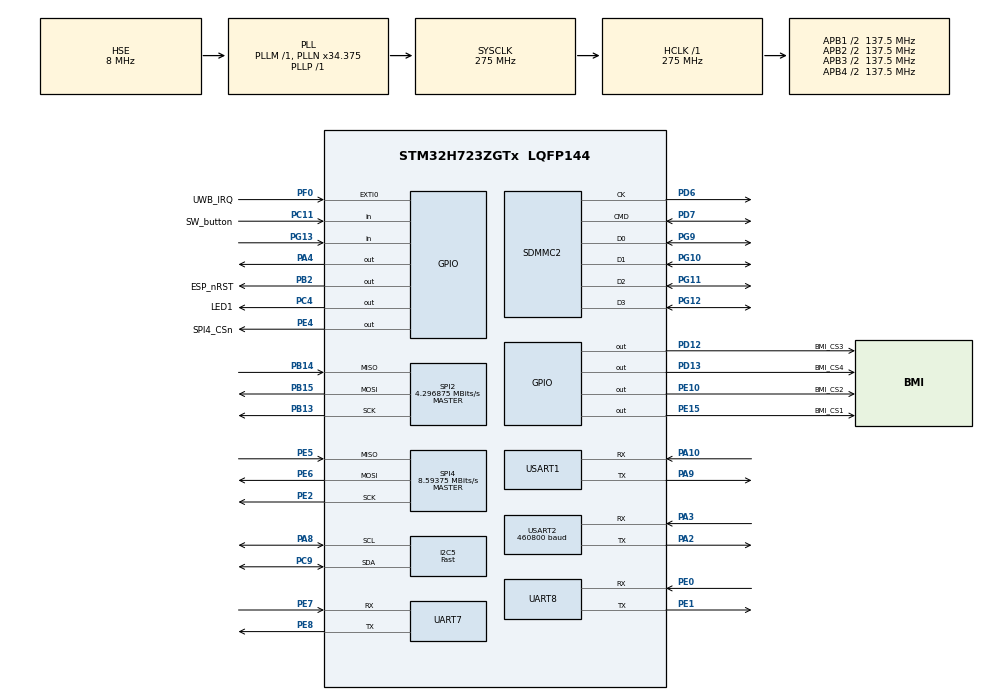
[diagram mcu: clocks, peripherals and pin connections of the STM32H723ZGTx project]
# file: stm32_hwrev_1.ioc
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ARM.CMSIS-DSP.1.17.0.CMSISJjDSP=Source
CORTEX_M7.default_mode_Activation=1
Dma.Request0=USART2_RX
Dma.Request1=USART1_RX
Dma.Request2=USART1_TX
Dma.Request3=USART2_TX
Dma.Request4=SPI2_RX
Dma.Request5=SPI2_TX
Dma.Request6=SPI4_RX
Dma.Request7=SPI4_TX
Dma.SPI2_RX.4.Direction=DMA_PERIPH_TO_MEMORY
Dma.SPI2_RX.4.EventEnable=DISABLE
Dma.SPI2_RX.4.FIFOMode=DMA_FIFOMODE_DISABLE
Dma.SPI2_RX.4.Instance=DMA1_Stream4
Dma.SPI2_RX.4.MemDataAlignment=DMA_MDATAALIGN_BYTE
Dma.SPI2_RX.4.MemInc=DMA_MINC_ENABLE
Dma.SPI2_RX.4.Mode=DMA_NORMAL
Dma.SPI2_RX.4.PeriphDataAlignment=DMA_PDATAALIGN_BYTE
Dma.SPI2_RX.4.PeriphInc=DMA_PINC_DISABLE
Dma.SPI2_RX.4.Polarity=HAL_DMAMUX_REQ_GEN_RISING
Dma.SPI2_RX.4.Priority=DMA_PRIORITY_LOW
Dma.SPI2_RX.4.RequestNumber=1
Dma.SPI2_RX.4.SignalID=NONE
Dma.SPI2_RX.4.SyncEnable=DISABLE
Dma.SPI2_RX.4.SyncPolarity=HAL_DMAMUX_SYNC_NO_EVENT
Dma.SPI2_RX.4.SyncRequestNumber=1
Dma.SPI2_RX.4.SyncSignalID=NONE
Dma.SPI2_TX.5.Direction=DMA_MEMORY_TO_PERIPH
Dma.SPI2_TX.5.EventEnable=DISABLE
Dma.SPI2_TX.5.FIFOMode=DMA_FIFOMODE_DISABLE
Dma.SPI2_TX.5.Instance=DMA1_Stream5
Dma.SPI2_TX.5.MemDataAlignment=DMA_MDATAALIGN_BYTE
Dma.SPI2_TX.5.MemInc=DMA_MINC_ENABLE
Dma.SPI2_TX.5.Mode=DMA_NORMAL
Dma.SPI2_TX.5.PeriphDataAlignment=DMA_PDATAALIGN_BYTE
Dma.SPI2_TX.5.PeriphInc=DMA_PINC_DISABLE
Dma.SPI2_TX.5.Polarity=HAL_DMAMUX_REQ_GEN_RISING
Dma.SPI2_TX.5.Priority=DMA_PRIORITY_LOW
Dma.SPI2_TX.5.RequestNumber=1
Dma.SPI2_TX.5.SignalID=NONE
Dma.SPI2_TX.5.SyncEnable=DISABLE
Dma.SPI2_TX.5.SyncPolarity=HAL_DMAMUX_SYNC_NO_EVENT
Dma.SPI2_TX.5.SyncRequestNumber=1
Dma.SPI2_TX.5.SyncSignalID=NONE
Dma.SPI4_RX.6.Direction=DMA_PERIPH_TO_MEMORY
Dma.SPI4_RX.6.EventEnable=DISABLE
Dma.SPI4_RX.6.FIFOMode=DMA_FIFOMODE_DISABLE
Dma.SPI4_RX.6.Instance=DMA1_Stream6
Dma.SPI4_RX.6.MemDataAlignment=DMA_MDATAALIGN_BYTE
Dma.SPI4_RX.6.MemInc=DMA_MINC_ENABLE
Dma.SPI4_RX.6.Mode=DMA_NORMAL
Dma.SPI4_RX.6.PeriphDataAlignment=DMA_PDATAALIGN_BYTE
Dma.SPI4_RX.6.PeriphInc=DMA_PINC_DISABLE
Dma.SPI4_RX.6.Polarity=HAL_DMAMUX_REQ_GEN_RISING
Dma.SPI4_RX.6.Priority=DMA_PRIORITY_LOW
Dma.SPI4_RX.6.RequestNumber=1
Dma.SPI4_RX.6.SignalID=NONE
Dma.SPI4_RX.6.SyncEnable=DISABLE
Dma.SPI4_RX.6.SyncPolarity=HAL_DMAMUX_SYNC_NO_EVENT
Dma.SPI4_RX.6.SyncRequestNumber=1
Dma.SPI4_RX.6.SyncSignalID=NONE
Dma.SPI4_TX.7.Direction=DMA_MEMORY_TO_PERIPH
Dma.SPI4_TX.7.EventEnable=DISABLE
Dma.SPI4_TX.7.FIFOMode=DMA_FIFOMODE_DISABLE
Dma.SPI4_TX.7.Instance=DMA1_Stream7
Dma.SPI4_TX.7.MemDataAlignment=DMA_MDATAALIGN_BYTE
Dma.SPI4_TX.7.MemInc=DMA_MINC_ENABLE
Dma.SPI4_TX.7.Mode=DMA_NORMAL
Dma.SPI4_TX.7.PeriphDataAlignment=DMA_PDATAALIGN_BYTE
Dma.SPI4_TX.7.PeriphInc=DMA_PINC_DISABLE
Dma.SPI4_TX.7.Polarity=HAL_DMAMUX_REQ_GEN_RISING
Dma.SPI4_TX.7.Priority=DMA_PRIORITY_LOW
Dma.SPI4_TX.7.RequestNumber=1
Dma.SPI4_TX.7.SignalID=NONE
Dma.SPI4_TX.7.SyncEnable=DISABLE
Dma.SPI4_TX.7.SyncPolarity=HAL_DMAMUX_SYNC_NO_EVENT
Dma.SPI4_TX.7.SyncRequestNumber=1
Dma.SPI4_TX.7.SyncSignalID=NONE
Dma.USART1_RX.1.Direction=DMA_PERIPH_TO_MEMORY
Dma.USART1_RX.1.EventEnable=DISABLE
Dma.USART1_RX.1.FIFOMode=DMA_FIFOMODE_DISABLE
Dma.USART1_RX.1.Instance=DMA1_Stream1
Dma.USART1_RX.1.MemDataAlignment=DMA_MDATAALIGN_BYTE
Dma.USART1_RX.1.MemInc=DMA_MINC_ENABLE
Dma.USART1_RX.1.Mode=DMA_CIRCULAR
Dma.USART1_RX.1.PeriphDataAlignment=DMA_PDATAALIGN_BYTE
Dma.USART1_RX.1.PeriphInc=DMA_PINC_DISABLE
Dma.USART1_RX.1.Polarity=HAL_DMAMUX_REQ_GEN_RISING
Dma.USART1_RX.1.Priority=DMA_PRIORITY_LOW
Dma.USART1_RX.1.RequestNumber=1
Dma.USART1_RX.1.SignalID=NONE
Dma.USART1_RX.1.SyncEnable=DISABLE
Dma.USART1_RX.1.SyncPolarity=HAL_DMAMUX_SYNC_NO_EVENT
Dma.USART1_RX.1.SyncRequestNumber=1
Dma.USART1_RX.1.SyncSignalID=NONE
Dma.USART1_TX.2.Direction=DMA_MEMORY_TO_PERIPH
Dma.USART1_TX.2.EventEnable=DISABLE
Dma.USART1_TX.2.FIFOMode=DMA_FIFOMODE_DISABLE
Dma.USART1_TX.2.Instance=DMA1_Stream2
Dma.USART1_TX.2.MemDataAlignment=DMA_MDATAALIGN_BYTE
Dma.USART1_TX.2.MemInc=DMA_MINC_ENABLE
Dma.USART1_TX.2.Mode=DMA_NORMAL
Dma.USART1_TX.2.PeriphDataAlignment=DMA_PDATAALIGN_BYTE
Dma.USART1_TX.2.PeriphInc=DMA_PINC_DISABLE
Dma.USART1_TX.2.Polarity=HAL_DMAMUX_REQ_GEN_RISING
Dma.USART1_TX.2.Priority=DMA_PRIORITY_LOW
Dma.USART1_TX.2.RequestNumber=1
Dma.USART1_TX.2.SignalID=NONE
Dma.USART1_TX.2.SyncEnable=DISABLE
Dma.USART1_TX.2.SyncPolarity=HAL_DMAMUX_SYNC_NO_EVENT
Dma.USART1_TX.2.SyncRequestNumber=1
Dma.USART1_TX.2.SyncSignalID=NONE
Dma.USART2_RX.0.Direction=DMA_PERIPH_TO_MEMORY
Dma.USART2_RX.0.EventEnable=DISABLE
Dma.USART2_RX.0.FIFOMode=DMA_FIFOMODE_DISABLE
Dma.USART2_RX.0.Instance=DMA1_Stream0
Dma.USART2_RX.0.MemDataAlignment=DMA_MDATAALIGN_BYTE
Dma.USART2_RX.0.MemInc=DMA_MINC_ENABLE
Dma.USART2_RX.0.Mode=DMA_CIRCULAR
Dma.USART2_RX.0.PeriphDataAlignment=DMA_PDATAALIGN_BYTE
Dma.USART2_RX.0.PeriphInc=DMA_PINC_DISABLE
Dma.USART2_RX.0.Polarity=HAL_DMAMUX_REQ_GEN_RISING
Dma.USART2_RX.0.Priority=DMA_PRIORITY_LOW
Dma.USART2_RX.0.RequestNumber=1
Dma.USART2_RX.0.SignalID=NONE
Dma.USART2_RX.0.SyncEnable=DISABLE
Dma.USART2_RX.0.SyncPolarity=HAL_DMAMUX_SYNC_NO_EVENT
Dma.USART2_RX.0.SyncRequestNumber=1
Dma.USART2_RX.0.SyncSignalID=NONE
Dma.USART2_TX.3.Direction=DMA_MEMORY_TO_PERIPH
Dma.USART2_TX.3.EventEnable=DISABLE
Dma.USART2_TX.3.FIFOMode=DMA_FIFOMODE_DISABLE
Dma.USART2_TX.3.Instance=DMA1_Stream3
Dma.USART2_TX.3.MemDataAlignment=DMA_MDATAALIGN_BYTE
Dma.USART2_TX.3.MemInc=DMA_MINC_ENABLE
Dma.USART2_TX.3.Mode=DMA_NORMAL
Dma.USART2_TX.3.PeriphDataAlignment=DMA_PDATAALIGN_BYTE
Dma.USART2_TX.3.PeriphInc=DMA_PINC_DISABLE
Dma.USART2_TX.3.Polarity=HAL_DMAMUX_REQ_GEN_RISING
Dma.USART2_TX.3.Priority=DMA_PRIORITY_LOW
Dma.USART2_TX.3.RequestNumber=1
Dma.USART2_TX.3.SignalID=NONE
Dma.USART2_TX.3.SyncEnable=DISABLE
Dma.USART2_TX.3.SyncPolarity=HAL_DMAMUX_SYNC_NO_EVENT
Dma.USART2_TX.3.SyncRequestNumber=1
Dma.USART2_TX.3.SyncSignalID=NONE
FATFS.BSP.number=1
FATFS0.BSP.STBoard=false
FATFS0.BSP.api=Unknown
FATFS0.BSP.instance=PG13
FATFS0.BSP.ip=GPIO
FATFS0.BSP.mode=Input
FATFS0.BSP.name=Detect_SDIO
FATFS0.BSP.solution=PG13
FREERTOS.HEAP_NUMBER=4
FREERTOS.INCLUDE_xTaskGetHandle=1
FREERTOS.Tasks01=defaultTask,24,512,StartDefaultTask,Default,NULL,Dynamic,NULL,NULL
FREERTOS.configCHECK_FOR_STACK_OVERFLOW=2
FREERTOS.configENABLE_FPU=1
FREERTOS.configGENERATE_RUN_TIME_STATS=1
FREERTOS.configMAX_TASK_NAME_LEN=32
FREERTOS.configTOTAL_HEAP_SIZE=204800
FREERTOS.configUSE_STATS_FORMATTING_FUNCTIONS=1
I2C5.I2C_Speed_Mode=I2C_Fast
I2C5.Timing=0x00D049FB
IWDG1.Prescaler=IWDG_PRESCALER_64
Mcu.Family=STM32H7
Mcu.Name=STM32H723ZGTx
Mcu.Package=LQFP144
NVIC.DMA1_Stream0_IRQn=true\:5\:0\:false\:false\:true\:true\:false\:true\:true
NVIC.DMA1_Stream1_IRQn=true\:5\:0\:false\:false\:true\:true\:false\:true\:true
NVIC.DMA1_Stream2_IRQn=true\:5\:0\:false\:false\:true\:true\:false\:true\:true
NVIC.DMA1_Stream3_IRQn=true\:5\:0\:false\:false\:true\:true\:false\:true\:true
NVIC.DMA1_Stream4_IRQn=true\:5\:0\:false\:false\:true\:true\:false\:true\:true
NVIC.DMA1_Stream5_IRQn=true\:5\:0\:false\:false\:true\:true\:false\:true\:true
NVIC.DMA1_Stream6_IRQn=true\:5\:0\:false\:false\:true\:true\:false\:true\:true
NVIC.DMA1_Stream7_IRQn=true\:5\:0\:false\:false\:true\:true\:false\:true\:true
NVIC.EXTI0_IRQn=true\:5\:0\:false\:false\:true\:true\:true\:true\:true
NVIC.PriorityGroup=NVIC_PRIORITYGROUP_4
NVIC.SDMMC2_IRQn=true\:5\:0\:false\:false\:true\:true\:true\:true\:true
NVIC.SPI2_IRQn=true\:5\:0\:false\:false\:true\:true\:false\:true\:true
NVIC.SPI4_IRQn=true\:5\:0\:false\:false\:true\:true\:false\:true\:true
NVIC.TIM2_IRQn=true\:5\:0\:false\:false\:true\:true\:true\:true\:true
NVIC.TIM6_DAC_IRQn=true\:0\:0\:false\:false\:true\:false\:false\:true\:true
NVIC.TimeBase=TIM6_DAC_IRQn
NVIC.TimeBaseIP=TIM6
NVIC.USART1_IRQn=true\:5\:0\:false\:false\:true\:true\:true\:true\:true
NVIC.USART2_IRQn=true\:5\:0\:false\:false\:true\:true\:true\:true\:true
PA10.Mode=Asynchronous
PA10.Signal=USART1_RX
PA13(JTMS/SWDIO).Mode=Serial_Wire
PA13(JTMS/SWDIO).Signal=DEBUG_JTMS-SWDIO
PA14(JTCK/SWCLK).Mode=Serial_Wire
PA14(JTCK/SWCLK).Signal=DEBUG_JTCK-SWCLK
PA2.Mode=Asynchronous
PA2.Signal=USART2_TX
PA3.Mode=Asynchronous
PA3.Signal=USART2_RX
PA4.Signal=GPIO_Output
PA8.Mode=I2C
PA8.Signal=I2C5_SCL
PA9.Mode=Asynchronous
PA9.Signal=USART1_TX
PB13.Mode=Full_Duplex_Master
PB13.Signal=SPI2_SCK
PB14.Mode=Full_Duplex_Master
PB14.Signal=SPI2_MISO
PB15.Mode=Full_Duplex_Master
PB15.Signal=SPI2_MOSI
PB2.GPIO_Label=ESP_nRST
PB2.GPIO_ModeDefaultOutputPP=GPIO_MODE_OUTPUT_OD
PB2.GPIO_PuPd=GPIO_NOPULL
PB2.PinState=GPIO_PIN_RESET
PB2.Signal=GPIO_Output
PB3(JTDO/TRACESWO).Signal=DEBUG_JTDO-SWO
PC11.GPIO_Label=SW_button
PC11.Signal=GPIO_Input
PC4.GPIO_Label=LED1
PC4.Signal=GPIO_Output
PC9.Mode=I2C
PC9.Signal=I2C5_SDA
PD12.GPIO_Label=BMI_CS3
PD12.PinState=GPIO_PIN_SET
PD12.Signal=GPIO_Output
PD13.GPIO_Label=BMI_CS4
PD13.PinState=GPIO_PIN_SET
PD13.Signal=GPIO_Output
PD6.Mode=SD_4_bits_Wide_bus
PD6.Signal=SDMMC2_CK
PD7.Mode=SD_4_bits_Wide_bus
PD7.Signal=SDMMC2_CMD
PE0.Mode=Asynchronous
PE0.Signal=UART8_RX
PE1.Mode=Asynchronous
PE1.Signal=UART8_TX
PE10.GPIO_Label=BMI_CS2
PE10.PinState=GPIO_PIN_SET
PE10.Signal=GPIO_Output
PE15.GPIO_Label=BMI_CS1
PE15.PinState=GPIO_PIN_SET
PE15.Signal=GPIO_Output
PE2.Mode=Full_Duplex_Master
PE2.Signal=SPI4_SCK
PE4.GPIO_Label=SPI4_CSn
PE4.Signal=GPIO_Output
PE5.Mode=Full_Duplex_Master
PE5.Signal=SPI4_MISO
PE6.Mode=Full_Duplex_Master
PE6.Signal=SPI4_MOSI
PE7.Mode=Asynchronous
PE7.Signal=UART7_RX
PE8.Mode=Asynchronous
PE8.Signal=UART7_TX
PF0.GPIO_Label=UWB_IRQ
PF0.GPIO_PuPd=GPIO_PULLDOWN
PF0.Signal=GPXTI0
PG10.Mode=SD_4_bits_Wide_bus
PG10.Signal=SDMMC2_D1
PG11.Mode=SD_4_bits_Wide_bus
PG11.Signal=SDMMC2_D2
PG12.Mode=SD_4_bits_Wide_bus
PG12.Signal=SDMMC2_D3
PG13.Signal=GPIO_Input
PG9.Mode=SD_4_bits_Wide_bus
PG9.Signal=SDMMC2_D0
PH0-OSC_IN.Mode=HSE-External-Oscillator
PH0-OSC_IN.Signal=RCC_OSC_IN
PH1-OSC_OUT.Mode=HSE-External-Oscillator
PH1-OSC_OUT.Signal=RCC_OSC_OUT
ProjectManager.HeapSize=0x400
ProjectManager.StackSize=0x800
ProjectManager.TargetToolchain=CMake
RCC.ADCFreq_Value=16125000
RCC.APB1Freq_Value=137500000
RCC.APB2Freq_Value=137500000
RCC.APB3Freq_Value=137500000
RCC.APB4Freq_Value=137500000
RCC.CortexFreq_Value=275000000
RCC.D1PPRE=RCC_APB3_DIV2
RCC.D2PPRE1=RCC_APB1_DIV2
RCC.D2PPRE2=RCC_APB2_DIV2
RCC.D3PPRE=RCC_APB4_DIV2
RCC.DIVM1=1
RCC.DIVN1=34
RCC.DIVP1=1
RCC.HCLKFreq_Value=275000000
RCC.HSE_VALUE=8000000
RCC.PLL2FRACN=0
RCC.PLL3FRACN=0
RCC.PLLFRACN=3072
RCC.PLLSourceVirtual=RCC_PLLSOURCE_HSE
RCC.SYSCLKFreq_VALUE=275000000
RCC.SYSCLKSource=RCC_SYSCLKSOURCE_PLLCLK
RCC.USBFreq_Value=137500000
SDMMC2.ClockDiv=4
SPI2.BaudRatePrescaler=SPI_BAUDRATEPRESCALER_32
SPI2.CalculateBaudRate=4.296875 MBits/s
SPI2.DataSize=SPI_DATASIZE_8BIT
SPI2.Direction=SPI_DIRECTION_2LINES
SPI2.Mode=SPI_MODE_MASTER
SPI2.VirtualType=VM_MASTER
SPI4.BaudRatePrescaler=SPI_BAUDRATEPRESCALER_16
SPI4.CalculateBaudRate=8.59375 MBits/s
SPI4.DataSize=SPI_DATASIZE_8BIT
SPI4.Direction=SPI_DIRECTION_2LINES
SPI4.Mode=SPI_MODE_MASTER
SPI4.VirtualType=VM_MASTER
TIM2.Prescaler=136
TIM5.Prescaler=27
USART1.VirtualMode-Asynchronous=VM_ASYNC
USART2.BaudRate=460800
USART2.VirtualMode-Asynchronous=VM_ASYNC
VP_ARM.CMSIS-DSP_VS_CMSISJjDSP_1.17.0_1.17.0.Mode=CMSISJjDSP
VP_FATFS_VS_SDIO.Mode=SDIO
VP_FREERTOS_VS_CMSIS_V2.Mode=CMSIS_V2
VP_IWDG1_VS_IWDG.Mode=IWDG_Activate
VP_MEMORYMAP_VS_MEMORYMAP.Mode=CurAppReg
VP_SYS_VS_tim6.Mode=TIM6
VP_TIM2_VS_ClockSourceINT.Mode=Internal
VP_TIM5_VS_ClockSourceINT.Mode=Internal
board=custom

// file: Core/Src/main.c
/* USER CODE BEGIN Header */
/**
  ******************************************************************************
  * @file           : main.c
  * @brief          : Main program body
  ******************************************************************************
  * @attention
  *
  * Copyright (c) 2026 STMicroelectronics.
  * All rights reserved.
  *
  * This software is licensed under terms that can be found in the LICENSE file
  * in the root directory of this software component.
  * If no LICENSE file comes with this software, it is provided AS-IS.
  *
  ******************************************************************************
  */
/* USER CODE END Header */
#include "main.h"
#include "cmsis_os.h"
#include "dma.h"
#include "fatfs.h"
#include "i2c.h"
#include "iwdg.h"
#include "sdmmc.h"
#include "spi.h"
#include "tim.h"
#include "usart.h"
#include "gpio.h"

/* USER CODE BEGIN Includes */
#include "app.h"
#include "os_driver.h"
#include "timer_driver.h"
/* USER CODE END Includes */

void SystemClock_Config(void);
void PeriphCommonClock_Config(void);
static void MPU_Config(void);
void MX_FREERTOS_Init(void);

int main(void)
{

  /* MPU Configuration--------------------------------------------------------*/
  MPU_Config();

  /* MCU Configuration--------------------------------------------------------*/

  /* Reset of all peripherals, Initializes the Flash interface and the Systick. */
  HAL_Init();

  /* Configure the system clock */
  SystemClock_Config();

  /* Configure the peripherals common clocks */
  PeriphCommonClock_Config();

  /* USER CODE BEGIN SysInit */
  os_driver_init();
  /* USER CODE END SysInit */

  /* Initialize all configured peripherals */
  MX_GPIO_Init();
  MX_DMA_Init();
  MX_I2C5_Init();
  MX_SPI2_Init();
  MX_SPI4_Init();
  MX_UART7_Init();
  MX_UART8_Init();
  MX_USART1_UART_Init();
  MX_USART2_UART_Init();
  MX_TIM2_Init();
  MX_TIM5_Init();
  MX_IWDG1_Init();
  MX_SDMMC2_SD_Init();
  MX_FATFS_Init();
  /* USER CODE BEGIN 2 */
  HAL_TIM_Base_Start_IT(&htim2);  /* 64-bit system time: overflow ISR extends to uint64_t */
  /* USER CODE END 2 */

  /* Init scheduler */
  osKernelInitialize();  /* Call init function for freertos objects (in cmsis_os2.c) */
  MX_FREERTOS_Init();

  /* Start scheduler */
  osKernelStart();

  /* We should never get here as control is now taken by the scheduler */

  /* Infinite loop */
  while (1)
  {

  }
}

void SystemClock_Config(void)
{
  RCC_OscInitTypeDef RCC_OscInitStruct = {0};
  RCC_ClkInitTypeDef RCC_ClkInitStruct = {0};

  /** Supply configuration update enable
  */
  HAL_PWREx_ConfigSupply(PWR_LDO_SUPPLY);

  /** Configure the main internal regulator output voltage
  */
  __HAL_PWR_VOLTAGESCALING_CONFIG(PWR_REGULATOR_VOLTAGE_SCALE0);

  while(!__HAL_PWR_GET_FLAG(PWR_FLAG_VOSRDY)) {}

  /** Initializes the RCC Oscillators according to the specified parameters
  * in the RCC_OscInitTypeDef structure.
  */
  RCC_OscInitStruct.OscillatorType = RCC_OSCILLATORTYPE_LSI|RCC_OSCILLATORTYPE_HSE;
  RCC_OscInitStruct.HSEState = RCC_HSE_ON;
  RCC_OscInitStruct.LSIState = RCC_LSI_ON;
  RCC_OscInitStruct.PLL.PLLState = RCC_PLL_ON;
  RCC_OscInitStruct.PLL.PLLSource = RCC_PLLSOURCE_HSE;
  RCC_OscInitStruct.PLL.PLLM = 1;
  RCC_OscInitStruct.PLL.PLLN = 34;
  RCC_OscInitStruct.PLL.PLLP = 1;
  RCC_OscInitStruct.PLL.PLLQ = 2;
  RCC_OscInitStruct.PLL.PLLR = 2;
  RCC_OscInitStruct.PLL.PLLRGE = RCC_PLL1VCIRANGE_3;
  RCC_OscInitStruct.PLL.PLLVCOSEL = RCC_PLL1VCOWIDE;
  RCC_OscInitStruct.PLL.PLLFRACN = 3072;
  if (HAL_RCC_OscConfig(&RCC_OscInitStruct) != HAL_OK)
  {
    Error_Handler();
  }

  /** Initializes the CPU, AHB and APB buses clocks
  */
  RCC_ClkInitStruct.ClockType = RCC_CLOCKTYPE_HCLK|RCC_CLOCKTYPE_SYSCLK
                              |RCC_CLOCKTYPE_PCLK1|RCC_CLOCKTYPE_PCLK2
                              |RCC_CLOCKTYPE_D3PCLK1|RCC_CLOCKTYPE_D1PCLK1;
  RCC_ClkInitStruct.SYSCLKSource = RCC_SYSCLKSOURCE_PLLCLK;
  RCC_ClkInitStruct.SYSCLKDivider = RCC_SYSCLK_DIV1;
  RCC_ClkInitStruct.AHBCLKDivider = RCC_HCLK_DIV1;
  RCC_ClkInitStruct.APB3CLKDivider = RCC_APB3_DIV2;
  RCC_ClkInitStruct.APB1CLKDivider = RCC_APB1_DIV2;
  RCC_ClkInitStruct.APB2CLKDivider = RCC_APB2_DIV2;
  RCC_ClkInitStruct.APB4CLKDivider = RCC_APB4_DIV2;

  if (HAL_RCC_ClockConfig(&RCC_ClkInitStruct, FLASH_LATENCY_3) != HAL_OK)
  {
    Error_Handler();
  }
}

void PeriphCommonClock_Config(void)
{
  RCC_PeriphCLKInitTypeDef PeriphClkInitStruct = {0};

  /** Initializes the peripherals clock
  */
  PeriphClkInitStruct.PeriphClockSelection = RCC_PERIPHCLK_UART8|RCC_PERIPHCLK_UART7
                              |RCC_PERIPHCLK_USART2;
  PeriphClkInitStruct.PLL3.PLL3M = 1;
  PeriphClkInitStruct.PLL3.PLL3N = 24;
  PeriphClkInitStruct.PLL3.PLL3P = 2;
  PeriphClkInitStruct.PLL3.PLL3Q = 2;
  PeriphClkInitStruct.PLL3.PLL3R = 2;
  PeriphClkInitStruct.PLL3.PLL3RGE = RCC_PLL3VCIRANGE_3;
  PeriphClkInitStruct.PLL3.PLL3VCOSEL = RCC_PLL3VCOWIDE;
  PeriphClkInitStruct.PLL3.PLL3FRACN = 0;
  PeriphClkInitStruct.Usart234578ClockSelection = RCC_USART234578CLKSOURCE_PLL3;
  if (HAL_RCCEx_PeriphCLKConfig(&PeriphClkInitStruct) != HAL_OK)
  {
    Error_Handler();
  }
}

 /* MPU Configuration */

void MPU_Config(void)
{
  MPU_Region_InitTypeDef MPU_InitStruct = {0};

  /* Disables the MPU */
  HAL_MPU_Disable();

  /** Initializes and configures the Region and the memory to be protected
  */
  MPU_InitStruct.Enable = MPU_REGION_ENABLE;
  MPU_InitStruct.Number = MPU_REGION_NUMBER0;
  MPU_InitStruct.BaseAddress = 0x0;
  MPU_InitStruct.Size = MPU_REGION_SIZE_4GB;
  MPU_InitStruct.SubRegionDisable = 0x87;
  MPU_InitStruct.TypeExtField = MPU_TEX_LEVEL0;
  MPU_InitStruct.AccessPermission = MPU_REGION_NO_ACCESS;
  MPU_InitStruct.DisableExec = MPU_INSTRUCTION_ACCESS_DISABLE;
  MPU_InitStruct.IsShareable = MPU_ACCESS_SHAREABLE;
  MPU_InitStruct.IsCacheable = MPU_ACCESS_NOT_CACHEABLE;
  MPU_InitStruct.IsBufferable = MPU_ACCESS_NOT_BUFFERABLE;

  HAL_MPU_ConfigRegion(&MPU_InitStruct);
  /* Enables the MPU */
  HAL_MPU_Enable(MPU_PRIVILEGED_DEFAULT);

}

void HAL_TIM_PeriodElapsedCallback(TIM_HandleTypeDef *htim)
{
  if (htim->Instance == TIM6)
  {
    HAL_IncTick();
  }
  /* USER CODE BEGIN Callback 1 */
  else if (htim->Instance == TIM2)
  {
      timer_driver_on_overflow();
  }
  /* USER CODE END Callback 1 */
}

void Error_Handler(void)
{
  /* USER CODE BEGIN Error_Handler_Debug */
  /* User can add his own implementation to report the HAL error return state */
  // SAFETY: Blink LED rapidly to indicate error, allows debugger to connect
  __disable_irq();
  while (1)
  {
    HAL_GPIO_TogglePin(LED1_GPIO_Port, LED1_Pin);
    for (volatile int i = 0; i < 200000; i++);  // ~200ms delay
  }
  /* USER CODE END Error_Handler_Debug */
}

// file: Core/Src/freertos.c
/* USER CODE BEGIN Header */
/**
  ******************************************************************************
  * File Name          : freertos.c
  * Description        : Code for freertos applications
  ******************************************************************************
  * @attention
  *
  * Copyright (c) 2026 STMicroelectronics.
  * All rights reserved.
  *
  * This software is licensed under terms that can be found in the LICENSE file
  * in the root directory of this software component.
  * If no LICENSE file comes with this software, it is provided AS-IS.
  *
  ******************************************************************************
  */
/* USER CODE END Header */

#include "FreeRTOS.h"
#include "task.h"
#include "main.h"
#include "cmsis_os.h"

/* USER CODE BEGIN Includes */
#include "app.h"
#include "tim.h"
//#include <string.h>
/* USER CODE END Includes */

/* USER CODE BEGIN Variables */
/* FreeRTOS heap in RAM_D1 (AXI SRAM, 320 KB free) — keeps 82 KB of DTCMRAM available.
 * configAPPLICATION_ALLOCATED_HEAP=1 tells heap_4.c to use this buffer instead of its own. */
uint8_t ucHeap[configTOTAL_HEAP_SIZE] __attribute__((section(".freertos_heap")));
/* USER CODE END Variables */
/* Definitions for defaultTask */
osThreadId_t defaultTaskHandle;
const osThreadAttr_t defaultTask_attributes = {
  .name = "defaultTask",
  .stack_size = 512 * 4,
  .priority = (osPriority_t) osPriorityNormal,
};

void StartDefaultTask(void *argument);

void MX_FREERTOS_Init(void); /* (MISRA C 2004 rule 8.1) */

/* Hook prototypes */
void configureTimerForRunTimeStats(void);
unsigned long getRunTimeCounterValue(void);
void vApplicationStackOverflowHook(xTaskHandle xTask, signed char *pcTaskName);

/* USER CODE BEGIN 1 */
/* Functions needed when configGENERATE_RUN_TIME_STATS is on */
__weak void configureTimerForRunTimeStats(void)
{
  HAL_TIM_Base_Start(&htim5);
}

__weak unsigned long getRunTimeCounterValue(void)
{
  return TIM5->CNT;
}

/* USER CODE END 1 */

/* USER CODE BEGIN 4 */
void vApplicationStackOverflowHook(xTaskHandle xTask, signed char *pcTaskName)
{
   /* Run time stack overflow checking is performed if
   configCHECK_FOR_STACK_OVERFLOW is defined to 1 or 2. This hook function is
   called if a stack overflow is detected. */
}
/* USER CODE END 4 */

void MX_FREERTOS_Init(void) {

  /* Create the thread(s) */
  /* creation of defaultTask */
  defaultTaskHandle = osThreadNew(StartDefaultTask, NULL, &defaultTask_attributes);

}

void StartDefaultTask(void *argument)
{
  /* USER CODE BEGIN StartDefaultTask */
  /* Infinite loop */
  (void)(argument);
  app_init();
  /* USER CODE END StartDefaultTask */
}
